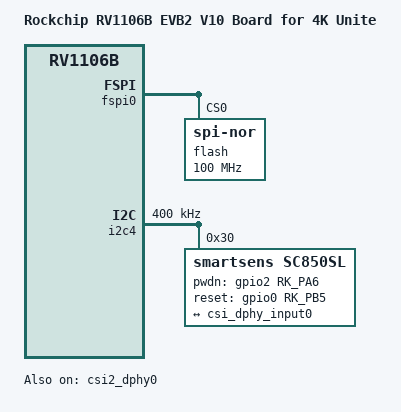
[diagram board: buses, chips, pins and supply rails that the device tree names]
// SPDX-License-Identifier: (GPL-2.0+ OR MIT)
/*
 * Copyright (c) 2026 Rockchip Electronics Co., Ltd.
 */

/dts-v1/;

#include "rv1103b.dtsi"
#include "rv1106b-evb2-v10.dtsi"
#include "rv1106b-thunder-boot-cam.dtsi"
#include "rv1106b-thunder-boot-spi-nor.dtsi"

/ {
	model = "Rockchip RV1106B EVB2 V10 Board for 4K Unite";
	compatible = "rockchip,rv1106b-evb2-v10-4k", "rockchip,rv1106b";

	chosen {
		bootargs = "loglevel=0 earlycon=uart8250,mmio32,0x20540000 console=ttyFIQ0 root=/dev/rd0 rootfstype=erofs rootflags=dax snd_soc_core.prealloc_buffer_size_kbytes=16 coherent_pool=32K";
	};
};

&fspi0 {
	status = "okay";

	flash@0 {
		compatible = "jedec,spi-nor";
		reg = <0>;
		spi-max-frequency = <100000000>;
		spi-rx-bus-width = <4>;
		spi-tx-bus-width = <1>;
	};
};

&csi2_dphy0 {
	status = "okay";

	ports {
		#address-cells = <1>;
		#size-cells = <0>;

		port@0 {
			reg = <0>;
			#address-cells = <1>;
			#size-cells = <0>;

			csi_dphy_input0: endpoint@0 {
				reg = <0>;
				remote-endpoint = <&cam0_out>;
				data-lanes = <1 2 3 4>;
			};
		};

		port@1 {
			reg = <1>;
			#address-cells = <1>;
			#size-cells = <0>;

			csi_dphy_output: endpoint@0 {
				reg = <0>;
				remote-endpoint = <&mipi_csi2_input>;
			};
		};
	};
};

&i2c4 {
	clock-frequency = <400000>;
	pinctrl-names = "default";
	pinctrl-0 = <&i2c4m1_xfer_pins>;
	rockchip,amp-shared;
	status = "okay";

	sc850sl: sc850sl@30 {
		compatible = "smartsens,sc850sl";
		status = "okay";
		reg = <0x30>;
		clocks = <&cru CLK_MIPI0_OUT2IO>;
		clock-names = "xvclk";
		pwdn-gpios = <&gpio2 RK_PA6 GPIO_ACTIVE_HIGH>;
		reset-gpios = <&gpio0 RK_PB5 GPIO_ACTIVE_HIGH>;
		pinctrl-names = "default";
		pinctrl-0 = <&cam_clk0_pins>;
		rockchip,camera-module-index = <0>;
		rockchip,camera-module-facing = "back";
		rockchip,camera-module-name = "default";
		rockchip,camera-module-lens-name = "default";
		port {
			cam0_out: endpoint {
				remote-endpoint = <&csi_dphy_input0>;
				data-lanes = <1 2 3 4>;
			};
		};
	};
};

&rkisp {
	rockchip,unite-en;
};

&rkisp_thunderboot {
	/*
	 * vicap, capture raw10, ceil(w*10/8/256)*256*h *3(buf num) + sizeof(rkisp_thunderboot_resmem_head)
	 * In RV1103B the size of rkisp_thunderboot_resmem_head is 0x9000, and it is 0x6000 in RV1103/RV1106
	 * e.g. 3840x2160: 0x1e0f000(raw picture size) + 0x9000 = 0x1e18000
	 * 0x00860000 = (meta's reg offset) + (meta's reg size)
	 *            = 0x00800000 + 0x60000
	 */
	reg = <0x00860000 0x1e18000>;
};

&ramdisk_r {
	reg = <0x2678000 (12 * 0x00100000)>;
};

&ramdisk_c {
	reg = <0x3278000 (5 * 0x00100000)>;
};
